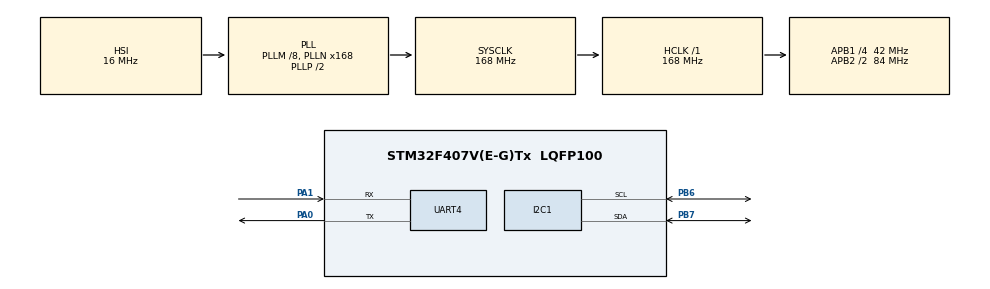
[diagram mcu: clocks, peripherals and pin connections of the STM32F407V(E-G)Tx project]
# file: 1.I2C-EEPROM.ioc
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Mcu.Family=STM32F4
Mcu.Name=STM32F407V(E-G)Tx
Mcu.Package=LQFP100
NVIC.PriorityGroup=NVIC_PRIORITYGROUP_4
PA0-WKUP.Mode=Asynchronous
PA0-WKUP.Signal=UART4_TX
PA1.Mode=Asynchronous
PA1.Signal=UART4_RX
PB6.Mode=I2C
PB6.Signal=I2C1_SCL
PB7.Mode=I2C
PB7.Signal=I2C1_SDA
PH0-OSC_IN.Mode=HSE-External-Oscillator
PH0-OSC_IN.Signal=RCC_OSC_IN
PH1-OSC_OUT.Mode=HSE-External-Oscillator
PH1-OSC_OUT.Signal=RCC_OSC_OUT
ProjectManager.HeapSize=0x200
ProjectManager.StackSize=0x400
ProjectManager.TargetToolchain=MDK-ARM V5.32
RCC.48MHZClocksFreq_Value=84000000
RCC.AHBFreq_Value=168000000
RCC.APB1CLKDivider=RCC_HCLK_DIV4
RCC.APB1Freq_Value=42000000
RCC.APB1TimFreq_Value=84000000
RCC.APB2CLKDivider=RCC_HCLK_DIV2
RCC.APB2Freq_Value=84000000
RCC.APB2TimFreq_Value=168000000
RCC.CortexFreq_Value=168000000
RCC.HCLKFreq_Value=168000000
RCC.HSE_VALUE=25000000
RCC.HSI_VALUE=16000000
RCC.LSE_VALUE=32768
RCC.PLLM=8
RCC.PLLN=168
RCC.SYSCLKFreq_VALUE=168000000
RCC.SYSCLKSource=RCC_SYSCLKSOURCE_PLLCLK
RCC.VCOOutputFreq_Value=336000000
UART4.VirtualMode=Asynchronous
board=custom

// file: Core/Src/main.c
/* USER CODE BEGIN Header */
/**
 ******************************************************************************
 * @file           : main.c
 * @brief          : Main program body
 ******************************************************************************
 * @attention
 *
 * Copyright (c) 2025 STMicroelectronics.
 * All rights reserved.
 *
 * This software is licensed under terms that can be found in the LICENSE file
 * in the root directory of this software component.
 * If no LICENSE file comes with this software, it is provided AS-IS.
 *
 ******************************************************************************
 */
/* USER CODE END Header */
#include "main.h"

/* USER CODE BEGIN Includes */
#include "at24cxx.h"
#include "string.h"
#include <stm32f407xx.h>
#include <stm32f4xx_hal_flash_ex.h>
#include <stm32f4xx_hal_rcc.h>
/* USER CODE END Includes */

/* USER CODE BEGIN PD */
#define MEM_ADDR 0x00u
/* USER CODE END PD */

I2C_HandleTypeDef hi2c1;

UART_HandleTypeDef huart4;

/* USER CODE BEGIN PV */
bool writeStatus = false;
bool readStatus = false;
bool eraseStatus = false;
/* USER CODE END PV */

void SystemClock_Config(void);
static void MX_GPIO_Init(void);
static void MX_I2C1_Init(void);
static void MX_UART4_Init(void);

/* USER CODE BEGIN 0 */
uint8_t wData[] = "Hello World 123";
uint8_t rData[25];
/* USER CODE END 0 */

int main(void)
{
	/* USER CODE BEGIN 1 */
	char scr[50];
	/* USER CODE END 1 */

	/* MCU Configuration--------------------------------------------------------*/

	/* Reset of all peripherals, Initializes the Flash interface and the Systick. */
	HAL_Init();

	/* Configure the system clock */
	SystemClock_Config();

	/* Initialize all configured peripherals */
	MX_GPIO_Init();
	MX_I2C1_Init();
	MX_UART4_Init();

	/* Infinite loop */
	/* USER CODE BEGIN WHILE */
	while (1)
	{
		if (at24_isConnected())
		{
			eraseStatus = at24_eraseChip();
			HAL_Delay(10);
			writeStatus = at24_write(MEM_ADDR, wData, 15, 100);
			HAL_Delay(100);
			readStatus = at24_read(MEM_ADDR, rData, 15, 100);
			HAL_Delay(10);
		}
		sprintf(scr, "rdata=%s\n\r", rData);
		HAL_UART_Transmit(&huart4, scr, strlen(scr), HAL_MAX_DELAY);
		HAL_Delay(3000);
		/* USER CODE END WHILE */

	}
}

void SystemClock_Config(void)
{
	RCC_OscInitTypeDef RCC_OscInitStruct = { 0 };
	RCC_ClkInitTypeDef RCC_ClkInitStruct = { 0 };

	/** Configure the main internal regulator output voltage
	 */
	__HAL_RCC_PWR_CLK_ENABLE();
	__HAL_PWR_VOLTAGESCALING_CONFIG(PWR_REGULATOR_VOLTAGE_SCALE1);

	/** Initializes the RCC Oscillators according to the specified parameters
	 * in the RCC_OscInitTypeDef structure.
	 */
	RCC_OscInitStruct.OscillatorType = RCC_OSCILLATORTYPE_HSI;
	RCC_OscInitStruct.HSIState = RCC_HSI_ON;
	RCC_OscInitStruct.HSICalibrationValue = RCC_HSICALIBRATION_DEFAULT;
	RCC_OscInitStruct.PLL.PLLState = RCC_PLL_ON;
	RCC_OscInitStruct.PLL.PLLSource = RCC_PLLSOURCE_HSI;
	RCC_OscInitStruct.PLL.PLLM = 8;
	RCC_OscInitStruct.PLL.PLLN = 168;
	RCC_OscInitStruct.PLL.PLLP = RCC_PLLP_DIV2;
	RCC_OscInitStruct.PLL.PLLQ = 4;
	if (HAL_RCC_OscConfig(&RCC_OscInitStruct) != HAL_OK)
	{
		Error_Handler();
	}

	/** Initializes the CPU, AHB and APB buses clocks
	 */
	RCC_ClkInitStruct.ClockType = RCC_CLOCKTYPE_HCLK | RCC_CLOCKTYPE_SYSCLK
		| RCC_CLOCKTYPE_PCLK1 | RCC_CLOCKTYPE_PCLK2;
	RCC_ClkInitStruct.SYSCLKSource = RCC_SYSCLKSOURCE_PLLCLK;
	RCC_ClkInitStruct.AHBCLKDivider = RCC_SYSCLK_DIV1;
	RCC_ClkInitStruct.APB1CLKDivider = RCC_HCLK_DIV4;
	RCC_ClkInitStruct.APB2CLKDivider = RCC_HCLK_DIV2;

	if (HAL_RCC_ClockConfig(&RCC_ClkInitStruct, FLASH_LATENCY_5) != HAL_OK)
	{
		Error_Handler();
	}
}

static void MX_I2C1_Init(void)
{

	hi2c1.Instance = I2C1;
	hi2c1.Init.ClockSpeed = 100000;
	hi2c1.Init.DutyCycle = I2C_DUTYCYCLE_2;
	hi2c1.Init.OwnAddress1 = 0;
	hi2c1.Init.AddressingMode = I2C_ADDRESSINGMODE_7BIT;
	hi2c1.Init.DualAddressMode = I2C_DUALADDRESS_DISABLE;
	hi2c1.Init.OwnAddress2 = 0;
	hi2c1.Init.GeneralCallMode = I2C_GENERALCALL_DISABLE;
	hi2c1.Init.NoStretchMode = I2C_NOSTRETCH_DISABLE;
	if (HAL_I2C_Init(&hi2c1) != HAL_OK)
	{
		Error_Handler();
	}
}

static void MX_UART4_Init(void)
{

	huart4.Instance = UART4;
	huart4.Init.BaudRate = 115200;
	huart4.Init.WordLength = UART_WORDLENGTH_8B;
	huart4.Init.StopBits = UART_STOPBITS_1;
	huart4.Init.Parity = UART_PARITY_NONE;
	huart4.Init.Mode = UART_MODE_TX_RX;
	huart4.Init.HwFlowCtl = UART_HWCONTROL_NONE;
	huart4.Init.OverSampling = UART_OVERSAMPLING_16;
	if (HAL_UART_Init(&huart4) != HAL_OK)
	{
		Error_Handler();
	}
}

static void MX_GPIO_Init(void)
{

	/* GPIO Ports Clock Enable */
	__HAL_RCC_GPIOH_CLK_ENABLE();
	__HAL_RCC_GPIOA_CLK_ENABLE();
	__HAL_RCC_GPIOB_CLK_ENABLE();
}

void Error_Handler(void)
{
	__disable_irq();
	while (1)
	{
	}
}
